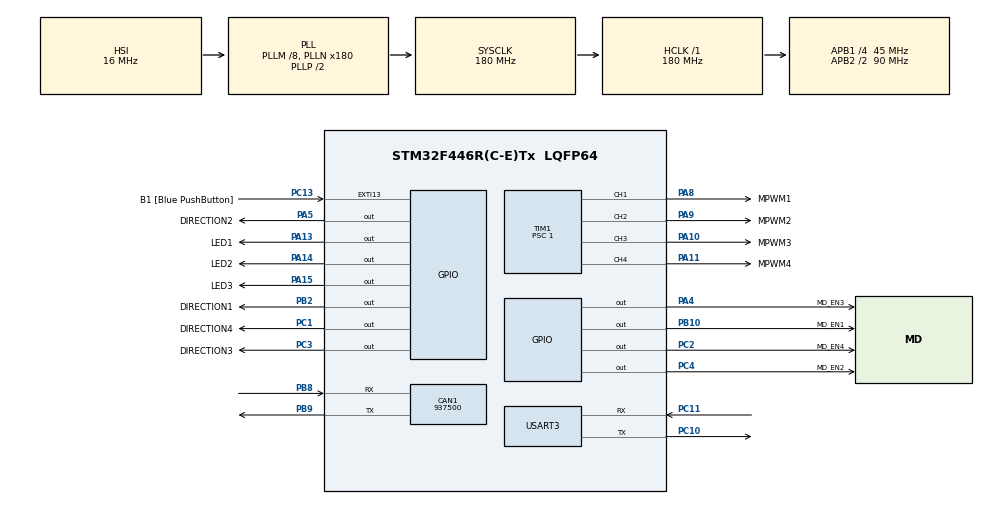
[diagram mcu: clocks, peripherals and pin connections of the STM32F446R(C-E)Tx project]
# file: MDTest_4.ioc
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CAN1.CalculateBaudRate=937500
CAN1.CalculateTimeBit=1066
CAN1.CalculateTimeQuantum=355.55555555555554
Mcu.Family=STM32F4
Mcu.Name=STM32F446R(C-E)Tx
Mcu.Package=LQFP64
NVIC.PriorityGroup=NVIC_PRIORITYGROUP_0
NVIC.USART3_IRQn=true\:0\:0\:false\:false\:true\:true\:true\:true
PA0-WKUP.GPIO_Label=RE_4A
PA0-WKUP.Signal=S_TIM5_CH1
PA1.GPIO_Label=RE_4B
PA1.Signal=S_TIM5_CH2
PA10.GPIO_Label=MPWM3
PA10.Signal=S_TIM1_CH3
PA11.GPIO_Label=MPWM4
PA11.Signal=S_TIM1_CH4
PA13.GPIO_Label=LED1
PA13.Signal=GPIO_Output
PA14.GPIO_Label=LED2
PA14.Signal=GPIO_Output
PA15.GPIO_Label=LED3
PA15.Signal=GPIO_Output
PA2.GPIO_Label=USART_TX
PA2.Signal=USART2_TX
PA4.GPIO_Label=MD_EN3
PA4.Signal=GPIO_Output
PA5.GPIO_Label=DIRECTION2
PA5.Signal=GPIO_Output
PA6.GPIO_Label=RE_3A
PA6.Signal=S_TIM3_CH1
PA7.GPIO_Label=RE_3B
PA7.Signal=S_TIM3_CH2
PA8.GPIO_Label=MPWM1
PA8.Signal=S_TIM1_CH1
PA9.GPIO_Label=MPWM2
PA9.Signal=S_TIM1_CH2
PB10.GPIO_Label=MD_EN1
PB10.Signal=GPIO_Output
PB2.GPIO_Label=DIRECTION1
PB2.Signal=GPIO_Output
PB3.GPIO_Label=SWO
PB3.Signal=SYS_JTDO-SWO
PB6.GPIO_Label=RE_1A
PB6.Signal=S_TIM4_CH1
PB7.GPIO_Label=RE_1B
PB7.Signal=S_TIM4_CH2
PB8.Mode=CAN_Activate
PB8.Signal=CAN1_RX
PB9.Mode=CAN_Activate
PB9.Signal=CAN1_TX
PC1.GPIO_Label=DIRECTION4
PC1.Signal=GPIO_Output
PC10.Mode=Asynchronous
PC10.Signal=USART3_TX
PC11.Mode=Asynchronous
PC11.Signal=USART3_RX
PC13.GPIO_Label=B1 [Blue PushButton]
PC13.GPIO_ModeDefaultEXTI=GPIO_MODE_IT_FALLING
PC13.Signal=GPXTI13
PC14-OSC32_IN.Mode=LSE-External-Oscillator
PC14-OSC32_IN.Signal=RCC_OSC32_IN
PC15-OSC32_OUT.Mode=LSE-External-Oscillator
PC15-OSC32_OUT.Signal=RCC_OSC32_OUT
PC2.GPIO_Label=MD_EN4
PC2.Signal=GPIO_Output
PC3.GPIO_Label=DIRECTION3
PC3.Signal=GPIO_Output
PC4.GPIO_Label=MD_EN2
PC4.Signal=GPIO_Output
PC6.GPIO_Label=RE_2B
PC6.Signal=S_TIM8_CH1
PC7.GPIO_Label=RE_2A
PC7.Signal=S_TIM8_CH2
PH0-OSC_IN.Mode=HSE-External-Oscillator
PH0-OSC_IN.Signal=RCC_OSC_IN
PH1-OSC_OUT.Mode=HSE-External-Oscillator
PH1-OSC_OUT.Signal=RCC_OSC_OUT
ProjectManager.HeapSize=0x200
ProjectManager.StackSize=0x400
ProjectManager.TargetToolchain=STM32CubeIDE
RCC.48MHZClocksFreq_Value=84000000
RCC.AHBFreq_Value=180000000
RCC.APB1CLKDivider=RCC_HCLK_DIV4
RCC.APB1Freq_Value=45000000
RCC.APB1TimFreq_Value=90000000
RCC.APB2CLKDivider=RCC_HCLK_DIV2
RCC.APB2Freq_Value=90000000
RCC.APB2TimFreq_Value=180000000
RCC.CortexFreq_Value=180000000
RCC.FLatency-AdvancedSettings=FLASH_LATENCY_5
RCC.HCLKFreq_Value=180000000
RCC.HSE_VALUE=8000000
RCC.HSI_VALUE=16000000
RCC.PLLM=8
RCC.PLLN=180
RCC.SYSCLKFreq_VALUE=180000000
RCC.SYSCLKSource=RCC_SYSCLKSOURCE_PLLCLK
RCC.USBFreq_Value=180000000
RCC.VCOOutputFreq_Value=360000000
SH.S_TIM1_CH1.0=TIM1_CH1,PWM Generation1 CH1
SH.S_TIM1_CH2.0=TIM1_CH2,PWM Generation2 CH2
SH.S_TIM1_CH3.0=TIM1_CH3,PWM Generation3 CH3
SH.S_TIM1_CH4.0=TIM1_CH4,PWM Generation4 CH4
SH.S_TIM3_CH1.0=TIM3_CH1
SH.S_TIM3_CH2.0=TIM3_CH2
SH.S_TIM4_CH1.0=TIM4_CH1
SH.S_TIM4_CH2.0=TIM4_CH2
SH.S_TIM5_CH1.0=TIM5_CH1
SH.S_TIM5_CH2.0=TIM5_CH2
SH.S_TIM8_CH1.0=TIM8_CH1
SH.S_TIM8_CH2.0=TIM8_CH2
TIM1.Channel-PWM\ Generation1\ CH1=TIM_CHANNEL_1
TIM1.Channel-PWM\ Generation2\ CH2=TIM_CHANNEL_2
TIM1.Channel-PWM\ Generation3\ CH3=TIM_CHANNEL_3
TIM1.Channel-PWM\ Generation4\ CH4=TIM_CHANNEL_4
TIM1.OC1Preload_PWM=DISABLE
TIM1.Prescaler=1
USART3.VirtualMode=VM_ASYNC
board=NUCLEO-F446RE

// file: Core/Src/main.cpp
/* USER CODE BEGIN Header */
/**
  ******************************************************************************
  * @file           : main.c
  * @brief          : Main program body
  ******************************************************************************
  * @attention
  *
  * Copyright (c) 2022 STMicroelectronics.
  * All rights reserved.
  *
  * This software is licensed under terms that can be found in the LICENSE file
  * in the root directory of this software component.
  * If no LICENSE file comes with this software, it is provided AS-IS.
  *
  ******************************************************************************
  */
/* USER CODE END Header */
#include "main.h"

/* USER CODE BEGIN Includes */
#include <vector>
#include <math.h>
/* USER CODE END Includes */

CAN_HandleTypeDef hcan1;

TIM_HandleTypeDef htim1;

UART_HandleTypeDef huart3;

void SystemClock_Config(void);
static void MX_GPIO_Init(void);
static void MX_CAN1_Init(void);
static void MX_TIM1_Init(void);
static void MX_USART3_UART_Init(void);

/* USER CODE BEGIN 0 */
#define BUFF_SIZE 4//受信のデータサイズ(byte)今回はuint8_t*4(スティックだけのため)なので4byte
#define CHAR_CR (0x0d)
#define TRUE (1)
#define FALSE (0)
uint8_t flagRcved = FALSE;
uint16_t rcvLength;
uint8_t rcvBuffer[BUFF_SIZE];//受信用の配列
float MPWM[4];//モタドラに送るPWMの値の配列
int MPWMTimes = 64;//MPWMをモーターをいい感じに動かせる値まで増幅するための変数。要調整。

//よくわからんけどこれがないと割り込み処理できないらしい
void HAL_UART_RxCpltCallback(UART_HandleTypeDef *UartHandle){
	HAL_UART_Receive_IT(&huart3, rcvBuffer, 4);
	flagRcved = TRUE;
}

//4輪等角配置のオムニホイルの制御用関数
//左上から反時計回りにMPWM0,1,2,3
float WE_4(int Vx, int Vy, int Vr, float* MPWM){
    std::vector<std::vector<float>> vector{
        {{sqrt(2) / 2.0, sqrt(2) / -2.0, -1.0}},
        {{sqrt(2) / -2.0, sqrt(2) / -2.0, -1.0}},
        {{sqrt(2) / -2.0, sqrt(2) / 2.0, -1.0}},
        {{sqrt(2) / 2.0, sqrt(2) / 2.0, -1.0}},
    };

    //vectorを用いたオムニホイルの制御のための計算
    for(int i = 0;i < 4;){
        MPWM[i] = Vx * vector[i][0] + Vy * vector[i][1] + Vr * vector[i][2];
        i++;
    }

    //以下MPWMの値が0より小さければDIRECTION_PinをオンにしてMPWMの値を整数にする処理
    if(MPWM[0] < 0){
		  HAL_GPIO_WritePin(GPIOB,DIRECTION1_Pin,GPIO_PIN_SET);
		  MPWM[0] *= -1.0;
		}else{
		  HAL_GPIO_WritePin(GPIOB,DIRECTION1_Pin,GPIO_PIN_RESET);
		}

	if(MPWM[1] < 0){
		  HAL_GPIO_WritePin(GPIOA,DIRECTION2_Pin,GPIO_PIN_SET);
		  MPWM[1] *= -1.0;
		}else{
		  HAL_GPIO_WritePin(GPIOA,DIRECTION2_Pin,GPIO_PIN_RESET);
	    }

	  if(MPWM[2] < 0){
		  HAL_GPIO_WritePin(GPIOC,DIRECTION3_Pin,GPIO_PIN_SET);
		  MPWM[2] *= -1.0;
	  }else{
		  HAL_GPIO_WritePin(GPIOC,DIRECTION3_Pin,GPIO_PIN_RESET);
	  }

	  if(MPWM[3] < 0){
		  HAL_GPIO_WritePin(GPIOC,DIRECTION4_Pin,GPIO_PIN_SET);
		  MPWM[3] *= -1.0;
	  }else{
		  HAL_GPIO_WritePin(GPIOC,DIRECTION4_Pin,GPIO_PIN_RESET);
	  }

	  return *MPWM;
}
/* USER CODE END 0 */

int main(void)
{

  /* MCU Configuration--------------------------------------------------------*/

  /* Reset of all peripherals, Initializes the Flash interface and the Systick. */
  HAL_Init();

  /* Configure the system clock */
  SystemClock_Config();

  /* Initialize all configured peripherals */
  MX_GPIO_Init();
  MX_CAN1_Init();
  MX_TIM1_Init();
  MX_USART3_UART_Init();
  /* USER CODE BEGIN 2 */
  //いつもの
  HAL_TIM_PWM_Start(&htim1,TIM_CHANNEL_1);
  HAL_TIM_PWM_Start(&htim1,TIM_CHANNEL_2);
  HAL_TIM_PWM_Start(&htim1,TIM_CHANNEL_3);
  HAL_TIM_PWM_Start(&htim1,TIM_CHANNEL_4);
  HAL_GPIO_WritePin(GPIOB,MD_EN1_Pin,GPIO_PIN_SET);
  HAL_GPIO_WritePin(GPIOC,MD_EN2_Pin,GPIO_PIN_SET);
  HAL_GPIO_WritePin(GPIOA,MD_EN3_Pin,GPIO_PIN_SET);
  HAL_GPIO_WritePin(GPIOC,MD_EN4_Pin,GPIO_PIN_SET);
  //コードが全く動いていないときはLED2_Pinだけが光るようにしている
  HAL_GPIO_WritePin(GPIOA,LED2_Pin,GPIO_PIN_SET);
  /* USER CODE END 2 */

  /* Infinite loop */
  /* USER CODE BEGIN WHILE */
  while (1)
  {
	  //UART通信関係
	  do{
		  HAL_UART_Receive_IT(&huart3, rcvBuffer, 4);

		  while(flagRcved == FALSE){
			  //通信中はLED1だけが光るように
			  HAL_GPIO_WritePin(GPIOA,LED2_Pin,GPIO_PIN_RESET);
			  HAL_GPIO_WritePin(GPIOA,LED1_Pin,GPIO_PIN_SET);
		  }

		  rcvLength++;
		  flagRcved = FALSE;
	  }while((rcvBuffer[0] != CHAR_CR) && (rcvLength < BUFF_SIZE));

	  rcvLength = 0;
	  //通信が終わったらLED2だけが光るように
	  HAL_GPIO_WritePin(GPIOA,LED1_Pin,GPIO_PIN_RESET);
	  HAL_GPIO_WritePin(GPIOA,LED2_Pin,GPIO_PIN_SET);
	  /*注意:UART受信処理と他の処理が高速で繰り返されるため正常に動いているときはLED1とLED2が両方とも光っているように見える*/
/*-------------------------------UART関係ここまで-----------------------------------------------------*/

	  //受け取ったデータをint型で-128してから送ることで疑似的にスティックの真ん中（スティックを触っていないとき）を0として計算できるようにしている
	  WE_4((int)rcvBuffer[1] - 128, (int)rcvBuffer[2] - 128, (int)rcvBuffer[3] - 128, MPWM);

	  for(int i = 0;i < BUFF_SIZE;i++){
		  if(MPWM[i] < 8){
			  MPWM[i] = 0;
		  }
	  }

	  //モタドラに送るPWM信号
	  __HAL_TIM_SET_COMPARE(&htim1,TIM_CHANNEL_1,MPWM[0] * MPWMTimes);
	  __HAL_TIM_SET_COMPARE(&htim1,TIM_CHANNEL_2,MPWM[1] * MPWMTimes);
	  __HAL_TIM_SET_COMPARE(&htim1,TIM_CHANNEL_3,MPWM[2] * MPWMTimes);
	  __HAL_TIM_SET_COMPARE(&htim1,TIM_CHANNEL_4,MPWM[3] * MPWMTimes);
    /* USER CODE END WHILE */

  }
}

void SystemClock_Config(void)
{
  RCC_OscInitTypeDef RCC_OscInitStruct = {0};
  RCC_ClkInitTypeDef RCC_ClkInitStruct = {0};

  /** Configure the main internal regulator output voltage
  */
  __HAL_RCC_PWR_CLK_ENABLE();
  __HAL_PWR_VOLTAGESCALING_CONFIG(PWR_REGULATOR_VOLTAGE_SCALE1);

  /** Initializes the RCC Oscillators according to the specified parameters
  * in the RCC_OscInitTypeDef structure.
  */
  RCC_OscInitStruct.OscillatorType = RCC_OSCILLATORTYPE_HSI;
  RCC_OscInitStruct.HSIState = RCC_HSI_ON;
  RCC_OscInitStruct.HSICalibrationValue = RCC_HSICALIBRATION_DEFAULT;
  RCC_OscInitStruct.PLL.PLLState = RCC_PLL_ON;
  RCC_OscInitStruct.PLL.PLLSource = RCC_PLLSOURCE_HSI;
  RCC_OscInitStruct.PLL.PLLM = 8;
  RCC_OscInitStruct.PLL.PLLN = 180;
  RCC_OscInitStruct.PLL.PLLP = RCC_PLLP_DIV2;
  RCC_OscInitStruct.PLL.PLLQ = 2;
  RCC_OscInitStruct.PLL.PLLR = 2;
  if (HAL_RCC_OscConfig(&RCC_OscInitStruct) != HAL_OK)
  {
    Error_Handler();
  }

  /** Activate the Over-Drive mode
  */
  if (HAL_PWREx_EnableOverDrive() != HAL_OK)
  {
    Error_Handler();
  }

  /** Initializes the CPU, AHB and APB buses clocks
  */
  RCC_ClkInitStruct.ClockType = RCC_CLOCKTYPE_HCLK|RCC_CLOCKTYPE_SYSCLK
                              |RCC_CLOCKTYPE_PCLK1|RCC_CLOCKTYPE_PCLK2;
  RCC_ClkInitStruct.SYSCLKSource = RCC_SYSCLKSOURCE_PLLCLK;
  RCC_ClkInitStruct.AHBCLKDivider = RCC_SYSCLK_DIV1;
  RCC_ClkInitStruct.APB1CLKDivider = RCC_HCLK_DIV4;
  RCC_ClkInitStruct.APB2CLKDivider = RCC_HCLK_DIV2;

  if (HAL_RCC_ClockConfig(&RCC_ClkInitStruct, FLASH_LATENCY_5) != HAL_OK)
  {
    Error_Handler();
  }
}

static void MX_CAN1_Init(void)
{

  hcan1.Instance = CAN1;
  hcan1.Init.Prescaler = 16;
  hcan1.Init.Mode = CAN_MODE_NORMAL;
  hcan1.Init.SyncJumpWidth = CAN_SJW_1TQ;
  hcan1.Init.TimeSeg1 = CAN_BS1_1TQ;
  hcan1.Init.TimeSeg2 = CAN_BS2_1TQ;
  hcan1.Init.TimeTriggeredMode = DISABLE;
  hcan1.Init.AutoBusOff = DISABLE;
  hcan1.Init.AutoWakeUp = DISABLE;
  hcan1.Init.AutoRetransmission = DISABLE;
  hcan1.Init.ReceiveFifoLocked = DISABLE;
  hcan1.Init.TransmitFifoPriority = DISABLE;
  if (HAL_CAN_Init(&hcan1) != HAL_OK)
  {
    Error_Handler();
  }

}

static void MX_TIM1_Init(void)
{

  TIM_MasterConfigTypeDef sMasterConfig = {0};
  TIM_OC_InitTypeDef sConfigOC = {0};
  TIM_BreakDeadTimeConfigTypeDef sBreakDeadTimeConfig = {0};

  htim1.Instance = TIM1;
  htim1.Init.Prescaler = 1;
  htim1.Init.CounterMode = TIM_COUNTERMODE_UP;
  htim1.Init.Period = 65535;
  htim1.Init.ClockDivision = TIM_CLOCKDIVISION_DIV1;
  htim1.Init.RepetitionCounter = 0;
  htim1.Init.AutoReloadPreload = TIM_AUTORELOAD_PRELOAD_DISABLE;
  if (HAL_TIM_PWM_Init(&htim1) != HAL_OK)
  {
    Error_Handler();
  }
  sMasterConfig.MasterOutputTrigger = TIM_TRGO_RESET;
  sMasterConfig.MasterSlaveMode = TIM_MASTERSLAVEMODE_DISABLE;
  if (HAL_TIMEx_MasterConfigSynchronization(&htim1, &sMasterConfig) != HAL_OK)
  {
    Error_Handler();
  }
  sConfigOC.OCMode = TIM_OCMODE_PWM1;
  sConfigOC.Pulse = 0;
  sConfigOC.OCPolarity = TIM_OCPOLARITY_HIGH;
  sConfigOC.OCNPolarity = TIM_OCNPOLARITY_HIGH;
  sConfigOC.OCFastMode = TIM_OCFAST_DISABLE;
  sConfigOC.OCIdleState = TIM_OCIDLESTATE_RESET;
  sConfigOC.OCNIdleState = TIM_OCNIDLESTATE_RESET;
  if (HAL_TIM_PWM_ConfigChannel(&htim1, &sConfigOC, TIM_CHANNEL_1) != HAL_OK)
  {
    Error_Handler();
  }
  __HAL_TIM_DISABLE_OCxPRELOAD(&htim1, TIM_CHANNEL_1);
  if (HAL_TIM_PWM_ConfigChannel(&htim1, &sConfigOC, TIM_CHANNEL_2) != HAL_OK)
  {
    Error_Handler();
  }
  if (HAL_TIM_PWM_ConfigChannel(&htim1, &sConfigOC, TIM_CHANNEL_3) != HAL_OK)
  {
    Error_Handler();
  }
  if (HAL_TIM_PWM_ConfigChannel(&htim1, &sConfigOC, TIM_CHANNEL_4) != HAL_OK)
  {
    Error_Handler();
  }
  sBreakDeadTimeConfig.OffStateRunMode = TIM_OSSR_DISABLE;
  sBreakDeadTimeConfig.OffStateIDLEMode = TIM_OSSI_DISABLE;
  sBreakDeadTimeConfig.LockLevel = TIM_LOCKLEVEL_OFF;
  sBreakDeadTimeConfig.DeadTime = 0;
  sBreakDeadTimeConfig.BreakState = TIM_BREAK_DISABLE;
  sBreakDeadTimeConfig.BreakPolarity = TIM_BREAKPOLARITY_HIGH;
  sBreakDeadTimeConfig.AutomaticOutput = TIM_AUTOMATICOUTPUT_DISABLE;
  if (HAL_TIMEx_ConfigBreakDeadTime(&htim1, &sBreakDeadTimeConfig) != HAL_OK)
  {
    Error_Handler();
  }
  HAL_TIM_MspPostInit(&htim1);

}

static void MX_USART3_UART_Init(void)
{

  huart3.Instance = USART3;
  huart3.Init.BaudRate = 115200;
  huart3.Init.WordLength = UART_WORDLENGTH_8B;
  huart3.Init.StopBits = UART_STOPBITS_1;
  huart3.Init.Parity = UART_PARITY_NONE;
  huart3.Init.Mode = UART_MODE_TX_RX;
  huart3.Init.HwFlowCtl = UART_HWCONTROL_NONE;
  huart3.Init.OverSampling = UART_OVERSAMPLING_16;
  if (HAL_UART_Init(&huart3) != HAL_OK)
  {
    Error_Handler();
  }

}

static void MX_GPIO_Init(void)
{
  GPIO_InitTypeDef GPIO_InitStruct = {0};

  /* GPIO Ports Clock Enable */
  __HAL_RCC_GPIOC_CLK_ENABLE();
  __HAL_RCC_GPIOH_CLK_ENABLE();
  __HAL_RCC_GPIOA_CLK_ENABLE();
  __HAL_RCC_GPIOB_CLK_ENABLE();

  /*Configure GPIO pin Output Level */
  HAL_GPIO_WritePin(GPIOC, DIRECTION4_Pin|MD_EN4_Pin|DIRECTION3_Pin|MD_EN2_Pin, GPIO_PIN_RESET);

  /*Configure GPIO pin Output Level */
  HAL_GPIO_WritePin(GPIOA, MD_EN3_Pin|DIRECTION2_Pin|LED1_Pin|LED2_Pin
                          |LED3_Pin, GPIO_PIN_RESET);

  /*Configure GPIO pin Output Level */
  HAL_GPIO_WritePin(GPIOB, DIRECTION1_Pin|MD_EN1_Pin, GPIO_PIN_RESET);

  /*Configure GPIO pin : B1_Pin */
  GPIO_InitStruct.Pin = B1_Pin;
  GPIO_InitStruct.Mode = GPIO_MODE_IT_FALLING;
  GPIO_InitStruct.Pull = GPIO_NOPULL;
  HAL_GPIO_Init(B1_GPIO_Port, &GPIO_InitStruct);

  /*Configure GPIO pins : DIRECTION4_Pin MD_EN4_Pin DIRECTION3_Pin MD_EN2_Pin */
  GPIO_InitStruct.Pin = DIRECTION4_Pin|MD_EN4_Pin|DIRECTION3_Pin|MD_EN2_Pin;
  GPIO_InitStruct.Mode = GPIO_MODE_OUTPUT_PP;
  GPIO_InitStruct.Pull = GPIO_NOPULL;
  GPIO_InitStruct.Speed = GPIO_SPEED_FREQ_LOW;
  HAL_GPIO_Init(GPIOC, &GPIO_InitStruct);

  /*Configure GPIO pins : RE_4A_Pin RE_4B_Pin */
  GPIO_InitStruct.Pin = RE_4A_Pin|RE_4B_Pin;
  GPIO_InitStruct.Mode = GPIO_MODE_AF_PP;
  GPIO_InitStruct.Pull = GPIO_NOPULL;
  GPIO_InitStruct.Speed = GPIO_SPEED_FREQ_LOW;
  GPIO_InitStruct.Alternate = GPIO_AF2_TIM5;
  HAL_GPIO_Init(GPIOA, &GPIO_InitStruct);

  /*Configure GPIO pin : USART_TX_Pin */
  GPIO_InitStruct.Pin = USART_TX_Pin;
  GPIO_InitStruct.Mode = GPIO_MODE_AF_PP;
  GPIO_InitStruct.Pull = GPIO_NOPULL;
  GPIO_InitStruct.Speed = GPIO_SPEED_FREQ_VERY_HIGH;
  GPIO_InitStruct.Alternate = GPIO_AF7_USART2;
  HAL_GPIO_Init(USART_TX_GPIO_Port, &GPIO_InitStruct);

  /*Configure GPIO pins : MD_EN3_Pin DIRECTION2_Pin LED1_Pin LED2_Pin
                           LED3_Pin */
  GPIO_InitStruct.Pin = MD_EN3_Pin|DIRECTION2_Pin|LED1_Pin|LED2_Pin
                          |LED3_Pin;
  GPIO_InitStruct.Mode = GPIO_MODE_OUTPUT_PP;
  GPIO_InitStruct.Pull = GPIO_NOPULL;
  GPIO_InitStruct.Speed = GPIO_SPEED_FREQ_LOW;
  HAL_GPIO_Init(GPIOA, &GPIO_InitStruct);

  /*Configure GPIO pins : RE_3A_Pin RE_3B_Pin */
  GPIO_InitStruct.Pin = RE_3A_Pin|RE_3B_Pin;
  GPIO_InitStruct.Mode = GPIO_MODE_AF_PP;
  GPIO_InitStruct.Pull = GPIO_NOPULL;
  GPIO_InitStruct.Speed = GPIO_SPEED_FREQ_LOW;
  GPIO_InitStruct.Alternate = GPIO_AF2_TIM3;
  HAL_GPIO_Init(GPIOA, &GPIO_InitStruct);

  /*Configure GPIO pins : DIRECTION1_Pin MD_EN1_Pin */
  GPIO_InitStruct.Pin = DIRECTION1_Pin|MD_EN1_Pin;
  GPIO_InitStruct.Mode = GPIO_MODE_OUTPUT_PP;
  GPIO_InitStruct.Pull = GPIO_NOPULL;
  GPIO_InitStruct.Speed = GPIO_SPEED_FREQ_LOW;
  HAL_GPIO_Init(GPIOB, &GPIO_InitStruct);

  /*Configure GPIO pins : RE_2B_Pin RE_2A_Pin */
  GPIO_InitStruct.Pin = RE_2B_Pin|RE_2A_Pin;
  GPIO_InitStruct.Mode = GPIO_MODE_AF_PP;
  GPIO_InitStruct.Pull = GPIO_NOPULL;
  GPIO_InitStruct.Speed = GPIO_SPEED_FREQ_LOW;
  GPIO_InitStruct.Alternate = GPIO_AF3_TIM8;
  HAL_GPIO_Init(GPIOC, &GPIO_InitStruct);

  /*Configure GPIO pins : RE_1A_Pin RE_1B_Pin */
  GPIO_InitStruct.Pin = RE_1A_Pin|RE_1B_Pin;
  GPIO_InitStruct.Mode = GPIO_MODE_AF_PP;
  GPIO_InitStruct.Pull = GPIO_NOPULL;
  GPIO_InitStruct.Speed = GPIO_SPEED_FREQ_LOW;
  GPIO_InitStruct.Alternate = GPIO_AF2_TIM4;
  HAL_GPIO_Init(GPIOB, &GPIO_InitStruct);

}

void Error_Handler(void)
{
  __disable_irq();
  while (1)
  {
  }
}
